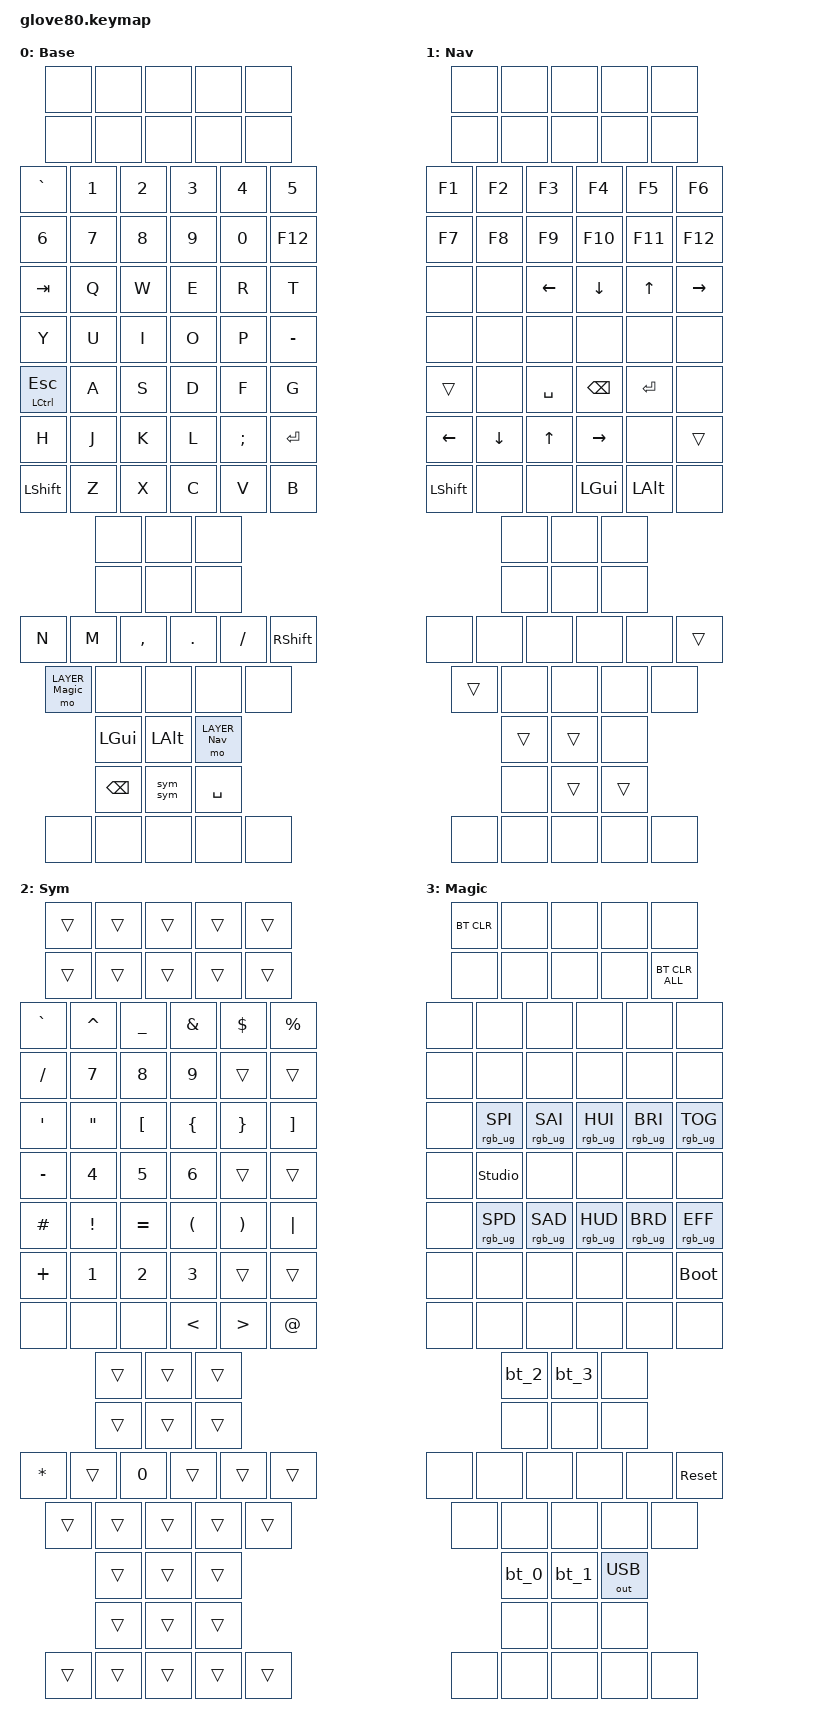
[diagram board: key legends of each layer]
/*
ZMK
 */

#include <behaviors.dtsi>
#include <dt-bindings/zmk/bt.h>
#include <dt-bindings/zmk/keys.h>
#include <dt-bindings/zmk/outputs.h>
#include <dt-bindings/zmk/rgb.h>


/* ===== Layer ===== */

#define LAYER_Base    0
#define LAYER_Nav     1
#define LAYER_Sym     2
#define LAYER_Magic   3
/* Layer 4 und 5: Reserve fuer ZMK Studio */



/ {

    /* ===== Behaviors ===== */

    behaviors {

        /* Esc/Ctrl: tippen = Esc, halten = Ctrl.
         * balanced: Ctrl+C geht sofort, ein schnelles "Esc, dann j" bleibt Esc + j.
         */
        esc_ctl: esc_ctl {
            compatible = "zmk,behavior-hold-tap";
            #binding-cells = <2>;
            flavor = "balanced";
            tapping-term-ms = <250>;
            retro-tap;
            bindings = <&kp>, <&kp>;
        };

        sym_sym: sym_sym { compatible = "zmk,behavior-tap-dance";
            #binding-cells = <0>;
            tapping-term-ms = <200>;
            bindings = <&mo LAYER_Sym>, <&tog LAYER_Sym>;
        };
        /* Bluetooth-Profile: einmal tippen = auswaehlen, zweimal tippen = Verbindung trennen */
        bt_0: bt_0 { compatible = "zmk,behavior-tap-dance";
            #binding-cells = <0>;
            tapping-term-ms = <200>;
            bindings = <&bt_select_0>, <&bt BT_DISC 0>;
        };
        bt_1: bt_1 {
            compatible = "zmk,behavior-tap-dance";
            #binding-cells = <0>;
            tapping-term-ms = <200>;
            bindings = <&bt_select_1>, <&bt BT_DISC 1>;
        };
        bt_2: bt_2 {
            compatible = "zmk,behavior-tap-dance";
            #binding-cells = <0>;
            tapping-term-ms = <200>;
            bindings = <&bt_select_2>, <&bt BT_DISC 2>;
        };
        bt_3: bt_3 {
            compatible = "zmk,behavior-tap-dance";
            #binding-cells = <0>;
            tapping-term-ms = <200>;
            bindings = <&bt_select_3>, <&bt BT_DISC 3>;
        };
    };

    /* ===== Combos ===== */

    combos {
        compatible = "zmk,combos";

        /* Zeige- + Mittelfinger auf der Home-Row = Sym-Layer (beide Combos, ein Layer).
         * J+K halten: links tippen.  D+F halten: rechts tippen.
         * Positionen: 37 = D, 38 = F, 41 = J, 42 = K
         */
        c_sym_r { timeout-ms = <30>; key-positions = <41 42>; bindings = <&mo LAYER_Sym>; layers = <LAYER_Base>; slow-release; };
        c_sym_l { timeout-ms = <30>; key-positions = <37 38>; bindings = <&mo LAYER_Sym>; layers = <LAYER_Base>; slow-release; };
    };

    /* ===== Macros ===== */

    macros {

        /* Ausgabe auf Bluetooth stellen (sonst gewinnt USB, wenn ein Kabel steckt)
         * und dann das Profil auswaehlen
         */
        bt_select_0: bt_select_0 {
            compatible = "zmk,behavior-macro";
            #binding-cells = <0>;
            bindings = <&out OUT_BLE>, <&bt BT_SEL 0>;
        };
        bt_select_1: bt_select_1 {
            compatible = "zmk,behavior-macro";
            #binding-cells = <0>;
            bindings = <&out OUT_BLE>, <&bt BT_SEL 1>;
        };
        bt_select_2: bt_select_2 {
            compatible = "zmk,behavior-macro";
            #binding-cells = <0>;
            bindings = <&out OUT_BLE>, <&bt BT_SEL 2>;
        };
        bt_select_3: bt_select_3 {
            compatible = "zmk,behavior-macro";
            #binding-cells = <0>;
            bindings = <&out OUT_BLE>, <&bt BT_SEL 3>;
        };
    };


    /* ===== Keymap =====
     * Pro Reihe: erst linke Hand, dann rechte Hand.
     * Reihe 5 und 6 enthalten zusaetzlich die Daumentasten (je 3 links, 3 rechts).
     * Die Reihenfolge der Layer muss zu den LAYER_*-Nummern oben passen.
     */

    keymap {
        compatible = "zmk,keymap";

        /* ----- 0: Base ----- */
        layer_Base {
            display-name = "Base";
            bindings = <
                // Reihe 1
                /* links     */ &none &none &none &none &none 
                /* rechts    */ &none &none &none &none &none 

                // Reihe 2
                /* links     */ &kp GRAVE    &kp NUMBER_1 &kp NUMBER_2 &kp NUMBER_3 &kp NUMBER_4 &kp NUMBER_5
                /* rechts    */ &kp NUMBER_6 &kp NUMBER_7 &kp NUMBER_8 &kp NUMBER_9 &kp NUMBER_0 &kp F12

                // Reihe 3
                /* links     */ &kp TAB     &kp Q       &kp W       &kp E       &kp R       &kp T
                /* rechts    */ &kp Y       &kp U       &kp I       &kp O       &kp P       &kp MINUS

                // Reihe 4
                /* links     */ &esc_ctl LCTRL ESC     &kp A       &kp S       &kp D       &kp F       &kp G
                /* rechts    */ &kp H                  &kp J       &kp K       &kp L       &kp SEMI    &kp RET

                // Reihe 5 + obere Daumentasten
                /* links     */ &kp LSHIFT   &kp Z      &kp X       &kp C       &kp V       &kp B
                /* Daumen L  */ &none        &none      &none
                /* Daumen R  */ &none        &none      &none 
                /* rechts    */ &kp N        &kp M      &kp COMMA   &kp DOT     &kp FSLH    &kp RSHFT

                // Reihe 6 + untere Daumentasten
                /* links     */ &mo LAYER_Magic         &none            &none                 &none  &none  
                /* Daumen L  */ &kp LGUI                &kp LALT         &mo LAYER_Nav 
                /* Daumen R  */ &kp BACKSPACE           &sym_sym         &kp SPACE 
                /* rechts    */ &none                   &none            &none                 &none  &none
            >;
        };
        
        
        /* ----- 1: Nav (linken inneren Daumen halten) -----
         * links:  Edit-Tasten fuer die Arbeit mit Maus in der rechten Hand
         * rechts: Pfeile auf HJKL wie in Vim
         * &trans = durchlaessig, die Taste vom Base-Layer gilt weiter
         */
        layer_Nav {
            display-name = "Nav";
            bindings = <
                // Reihe 1
                /* links     */ &none  &none  &none  &none  &none
                /* rechts    */ &none  &none  &none  &none  &none

                // Reihe 2
                /* links     */ &kp F1 &kp F2 &kp F3 &kp F4 &kp F5 &kp F6
                /* rechts    */ &kp F7 &kp F8 &kp F9 &kp F10 &kp F11 &kp F12

                // Reihe 3
                /* links     */ &none  &none  &kp LEFT_ARROW  &kp DOWN_ARROW  &kp UP_ARROW  &kp RIGHT_ARROW
                /* rechts    */ &none  &none  &none  &none  &none  &none

                // Reihe 4
                /* links     */ &trans          &none           &kp SPACE     &kp BSPC          &kp RET  &none 
                /* rechts    */ &kp LEFT_ARROW  &kp DOWN_ARROW  &kp UP_ARROW  &kp RIGHT_ARROW   &none    &trans

                // Reihe 5 + obere Daumentasten
                /* links     */ &kp LSHFT  &none  &none  &kp LGUI  &kp LALT  &none
                /* Daumen L  */ &none   &none  &none
                /* Daumen R  */ &none   &none  &none
                /* rechts    */ &none   &none  &none  &none  &none  &trans 

                // Reihe 6 + untere Daumentasten
                /* links     */ &trans  &none   &none  &none  &none
                /* Daumen L  */ &trans  &trans  &none
                /* Daumen R  */ &none   &trans  &trans
                /* rechts    */ &none   &none   &none  &none  &none
            >;
        };

         /* ----- 2: Symbol layer ----- */
        layer_Sym {
            display-name = "Sym";
            bindings = <
                // Reihe 1
                /* links     */ &trans &trans &trans &trans &trans   
                /* rechts    */ &trans &trans &trans &trans &trans

                // Reihe 2
                /* links     */ &kp GRAVE &kp CARET    &kp UNDERSCORE       &kp AMPERSAND     &kp DOLLAR &kp PERCENT
                /* rechts    */ &kp SLASH &kp NUMBER_7 &kp NUMBER_8         &kp NUMBER_9      &trans        &trans
 
                // Reihe 3
                /* links     */ &kp APOSTROPHE &kp DOUBLE_QUOTES &kp LEFT_BRACKET &kp LEFT_BRACE &kp RIGHT_BRACE &kp RIGHT_BRACKET
                /* rechts    */ &kp MINUS      &kp NUMBER_4      &kp NUMBER_5     &kp NUMBER_6   &trans          &trans
                
                // Reihe 4
                /* links     */ &kp HASH &kp EXCL     &kp EQUAL    &kp LEFT_PARENTHESIS &kp RIGHT_PARENTHESIS &kp PIPE
                /* rechts    */ &kp PLUS &kp NUMBER_1 &kp NUMBER_2 &kp NUMBER_3         &trans                &trans
                
                // Reihe 5 + obere Daumentasten
                /* links     */ &none        &none     &none        &kp LESS_THAN   &kp GREATER_THAN &kp AT_SIGN
                /* Daumen L  */ &trans &trans &trans   
                /* Daumen R  */ &trans &trans &trans  
                /* rechts    */ &kp ASTERISK &trans    &kp NUMBER_0 &trans          &trans           &trans

                // Reihe 6 + untere Daumentasten
                /* links     */ &trans &trans &trans &trans &trans   
                /* Daumen L  */ &trans &trans &trans   
                /* Daumen R  */ &trans &trans &trans   
                /* rechts    */ &trans &trans &trans &trans &trans
            >;
        };

        /* ----- 2: Magic (Bluetooth, RGB, Bootloader) ----- */
        layer_Magic {
            display-name = "Magic";
            bindings = <
                // Reihe 1
                /* links     */ &bt BT_CLR       &none            &none            &none            &none
                /* rechts    */ &none            &none            &none            &none            &bt BT_CLR_ALL

                // Reihe 2
                /* links     */ &none       &none            &none            &none            &none &none
                /* rechts    */ &none       &none            &none            &none            &none &none

                // Reihe 3
                /* links     */ &none            &rgb_ug RGB_SPI  &rgb_ug RGB_SAI  &rgb_ug RGB_HUI  &rgb_ug RGB_BRI  &rgb_ug RGB_TOG
                /* rechts    */ &none            &studio_unlock   &none            &none            &none            &none
                //                               Magic + U = ZMK Studio entsperren

                // Reihe 4
                /* links     */ &none            &rgb_ug RGB_SPD  &rgb_ug RGB_SAD  &rgb_ug RGB_HUD  &rgb_ug RGB_BRD  &rgb_ug RGB_EFF
                /* rechts    */ &none            &none            &none            &none            &none            &bootloader

                // Reihe 5 + obere Daumentasten
                /* links     */ &none            &none            &none            &none            &none            &none
                /* Daumen L  */ &bt_2            &bt_3            &none
                /* Daumen R  */ &none            &none            &none
                /* rechts    */ &none            &none            &none            &none            &none            &sys_reset

                // Reihe 6 + untere Daumentasten
                /* links     */ &none            &none            &none            &none            &none
                /* Daumen L  */ &bt_0            &bt_1            &out OUT_USB
                /* Daumen R  */ &none            &none            &none
                /* rechts    */ &none            &none            &none            &none            &none
            >;
        };


        /* ----- 4 und 5: Reserve-Layer fuer ZMK Studio -----
         * In normalen Builds ignoriert. In Studio aktivieren, umbenennen und belegen.
         */
        layer_Extra1 {
            display-name = "Extra1";
            status = "reserved";
            bindings = <
                &trans &trans &trans &trans &trans   &trans &trans &trans &trans &trans
                &trans &trans &trans &trans &trans &trans   &trans &trans &trans &trans &trans &trans
                &trans &trans &trans &trans &trans &trans   &trans &trans &trans &trans &trans &trans
                &trans &trans &trans &trans &trans &trans   &trans &trans &trans &trans &trans &trans
                &trans &trans &trans &trans &trans &trans   &trans &trans &trans   &trans &trans &trans   &trans &trans &trans &trans &trans &trans
                &trans &trans &trans &trans &trans   &trans &trans &trans   &trans &trans &trans   &trans &trans &trans &trans &trans
            >;
        };

        layer_Extra2 {
            display-name = "Extra2";
            status = "reserved";
            bindings = <
                &trans &trans &trans &trans &trans   &trans &trans &trans &trans &trans
                &trans &trans &trans &trans &trans &trans   &trans &trans &trans &trans &trans &trans
                &trans &trans &trans &trans &trans &trans   &trans &trans &trans &trans &trans &trans
                &trans &trans &trans &trans &trans &trans   &trans &trans &trans &trans &trans &trans
                &trans &trans &trans &trans &trans &trans   &trans &trans &trans   &trans &trans &trans   &trans &trans &trans &trans &trans &trans
                &trans &trans &trans &trans &trans   &trans &trans &trans   &trans &trans &trans   &trans &trans &trans &trans &trans
            >;
        };

    };
};
